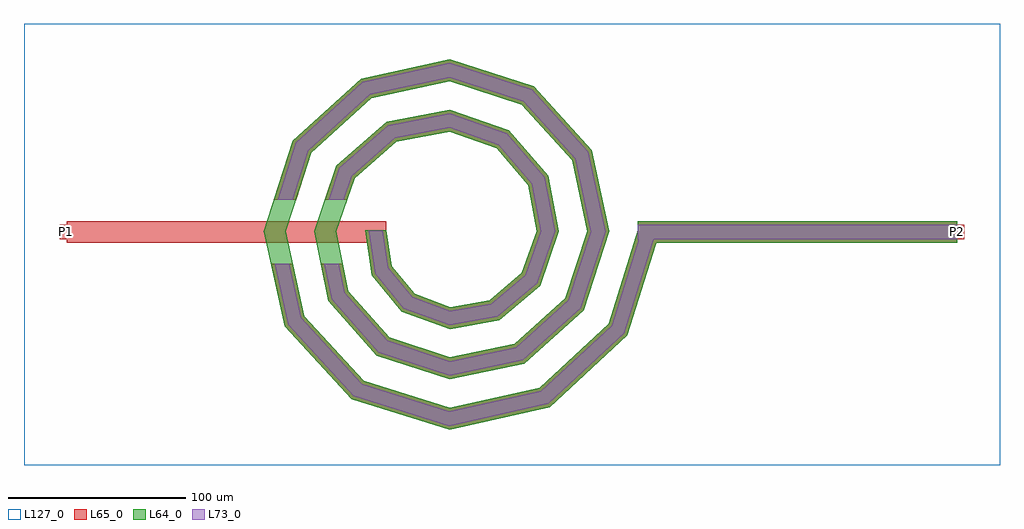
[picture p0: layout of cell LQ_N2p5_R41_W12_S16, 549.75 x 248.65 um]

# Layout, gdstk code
import gdstk
lib = gdstk.Library(unit=1e-6, precision=1e-09)
def R(c, l, rs):  # rectangles x0, y0, x1, y1
    for r in rs: c.add(gdstk.rectangle(r[:2], r[2:], *l))
def P(c, l, *ps):  # polygons
    for p in ps: c.add(gdstk.Polygon(p, *l))
L64_0 = (64, 0)
L65_0 = (65, 0)
L73_0 = (73, 0)
L127_0 = (127, 0)

lq_n2p5_r41_w12_s16 = lib.new_cell('LQ_N2p5_R41_W12_S16')
R(lq_n2p5_r41_w12_s16, L64_0, [(106.28,-6,286.28,6)])
P(lq_n2p5_r41_w12_s16, L64_0, [(-32.293,-19.363),(-19.492,-34.941),(0.562,-42.364),(22.825,-38.462),(41.029,-23.097),(49.439,0.491),(44.623,26.307),(26.687,47.128),(0.435,56.517),(-29.801,50.778),(-53.234,30.267),(-63.595,0.391),(-56.929,-33.305),(-33.839,-59.345),(0.355,-70.674),(36.815,-63.076),(65.46,-37.407),(77.753,0.326),(69.221,40.331),(40.969,71.578),(0.3,84.833),(-43.85,75.365),(-77.698,44.529),(-91.912,0.279),(-81.506,-47.372),(-48.086,-83.819),(0.26,-98.993),(50.896,-87.647),(89.942,-51.641),(106.551,1.781),(118.01,-1.781),(100.445,-58.279),(56.663,-98.652),(0.26,-111.407),(-54.753,-94.304),(-92.528,-53.107),(-104.325,0.279),(-88.161,51.23),(-49.549,86.406),(0.3,97.244),(47.708,82.017),(80.285,45.987),(90.162,0.326),(75.87,-44.191),(42.421,-74.166),(0.355,-83.08),(-40.677,-69.721),(-68.049,-38.851),(-75.997,0.391),(-63.568,37.169),(-35.274,61.936),(0.435,68.914),(33.668,57.41),(55.826,31.688),(61.829,0.491),(51.244,-30.178),(28.089,-49.723),(0.562,-54.744),(-26.702,-45.068),(-43.628,-24.47),(-47.397,0.949),(-35.548,0.949)])
R(lq_n2p5_r41_w12_s16, L65_0, [(-215.473,-6,-35.473,6), (106.28,-6,286.28,6), (-219.473,-4,-211.473,4), (282.28,-4,290.28,4)])
P(lq_n2p5_r41_w12_s16, L65_0, [(-81.506,-47.372),(-48.086,-83.819),(0.26,-98.993),(50.897,-87.647),(89.942,-51.641),(106.551,1.781),(118.01,-1.781),(100.445,-58.279),(56.663,-98.652),(0.26,-111.407),(-54.753,-94.304),(-92.529,-53.107),(-100.286,-18),(-87.997,-18)],
  [(-56.929,-33.305),(-33.839,-59.345),(0.356,-70.674),(36.815,-63.076),(65.46,-37.407),(77.753,0.326),(69.222,40.331),(40.969,71.578),(0.3,84.833),(-43.85,75.365),(-77.698,44.529),(-86.114,18),(-98.703,18),(-88.161,51.23),(-49.549,86.406),(0.3,97.244),(47.708,82.017),(80.285,45.987),(90.162,0.326),(75.871,-44.191),(42.422,-74.166),(0.356,-83.08),(-40.677,-69.721),(-68.049,-38.851),(-72.272,-18),(-60.029,-18)],
  [(-19.492,-34.941),(0.562,-42.364),(22.825,-38.463),(41.029,-23.097),(49.439,0.491),(44.623,26.307),(26.687,47.128),(0.436,56.517),(-29.801,50.778),(-53.234,30.267),(-57.379,18),(-70.046,18),(-63.568,37.169),(-35.274,61.936),(0.436,68.914),(33.668,57.41),(55.826,31.688),(61.829,0.491),(51.244,-30.178),(28.089,-49.723),(0.562,-54.744),(-26.702,-45.068),(-43.628,-24.471),(-47.397,0.949),(-35.549,0.949),(-32.293,-19.363)])
R(lq_n2p5_r41_w12_s16, L73_0, [(106.28,-4,286.28,4)])
P(lq_n2p5_r41_w12_s16, L73_0, [(-83.343,-48.328),(-49.197,-85.567),(0.173,-101.062),(51.858,-89.481),(91.693,-52.747),(108.461,1.188),(116.1,-1.188),(98.695,-57.173),(55.702,-96.818),(0.173,-109.338),(-53.642,-92.556),(-90.692,-52.151),(-98.238,-18),(-90.045,-18)],
  [(-58.782,-34.229),(-34.979,-61.074),(0.237,-72.741),(37.75,-64.925),(67.195,-38.537),(79.821,0.217),(71.065,41.273),(42.093,73.318),(0.2,86.901),(-44.8,77.205),(-79.442,45.646),(-88.212,18),(-96.605,18),(-86.417,50.113),(-48.599,84.566),(0.2,95.175),(46.585,80.277),(78.441,45.044),(88.094,0.217),(74.135,-43.06),(41.487,-72.318),(0.237,-81.012),(-39.537,-67.992),(-66.196,-37.927),(-70.232,-18),(-62.069,-18)],
  [(-20.693,-36.629),(0.375,-44.427),(23.702,-40.339),(42.732,-24.277),(51.504,0.327),(46.49,27.204),(27.85,48.842),(0.29,58.583),(-30.714,52.638),(-54.956,31.417),(-59.491,18),(-67.935,18),(-61.846,36.019),(-34.362,60.076),(0.29,66.848),(32.505,55.696),(53.959,30.791),(59.764,0.327),(49.542,-28.997),(27.212,-47.846),(0.375,-52.68),(-25.5,-43.38),(-41.739,-23.619),(-45.423,0.633),(-37.523,0.633),(-34.182,-20.214)])
R(lq_n2p5_r41_w12_s16, L127_0, [(-239.473,-131.407,310.28,117.244)])
lq_n2p5_r41_w12_s16.add(gdstk.Label('P2', (286.28,0), layer=65, texttype=0))
lq_n2p5_r41_w12_s16.add(gdstk.Label('P1', (-215.473,0), layer=65, texttype=0))
lq_n2p5_r41_w12_s16.add(gdstk.Label('P2', (290.28,0), layer=145, texttype=0))
lq_n2p5_r41_w12_s16.add(gdstk.Label('P1', (-219.473,0), layer=145, texttype=0))

lib.write_gds('LQ_N2p5_R41_W12_S16.gds')
